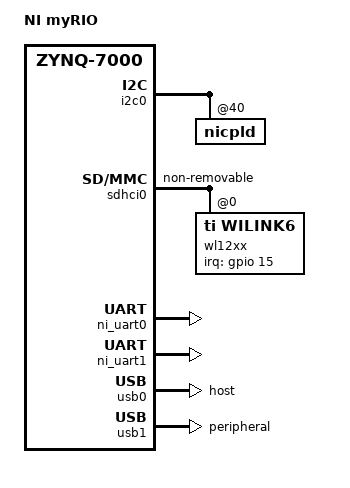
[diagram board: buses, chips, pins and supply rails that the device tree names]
/dts-v1/;
/include/ "ni-zynq.dtsi"

/* NIDEVCODE 762F */

/ {
	model = "NI myRIO";
	compatible = "ni,zynq", "xlnx,zynq-7000";

	amba {
		gpio: gpio@e000a000 {
			/* You can specify GPIO settings here:
			 *
			 *  gpioN-label      String label.
			 *  gpioN-direction  "input" or "output".
			 *  gpioN-settings   "output" - specifies the GPIO state as "high"
			 *                              or "low".
			 *                   "input"  - specifies GPIO interrupt settings as
			 *                              "none", "level-low", "level-high",
			 *                              "edge-falling", "edge-rising", or
			 *                              "edge-both".
			 */

			/* GPIO1 (MIO1) */
			gpio1-label     = "phy_interupt";
			gpio1-direction = "input";
			gpio1-settings  = "level-low";

			/* GPIO15 (MIO15) */
			gpio15-label     = "wake_interrupt";
			gpio15-direction = "input";
			gpio15-settings  = "level-low";

			/* GPIO24 (MIO24) */
			gpio24-label     = "wdt_interrupt";
			gpio24-direction = "input";
			gpio24-settings  = "edge-falling";

			/* GPIO25 (MIO25) */
			gpio25-label     = "wifi_btn_interrupt";
			gpio25-direction = "input";
			gpio25-settings  = "edge-falling";
		};

		i2c0: i2c@e0004000 {
			nicpld@40 {
				watchdogs {
					boot-watchdog {
						interrupt-parent = <&gpio>;
						interrupts = <24 0>;
					};
				};

				switches {
					wifi-switch {
						interrupt-parent = <&gpio>;
						interrupts = <25 0>;
					};
				};

				leds {
					status-1 {
						label = "nilrt:status:yellow";
						max-brightness = <0xFFFF>;
					};
					wifi-0 {
						label = "nilrt:wifi:primary";
					};
					wifi-1 {
						label = "nilrt:wifi:secondary";
					};
				};
			};
		};
	};
};

&sdhci0 {
	status = "okay";

	/* We must force the SDHCI into test mode, so that it
	 * always pretends to have a card present. This is to
	 * work-around a hardware bug where TiWi WiFi does not
	 * have its CD line connected correctly. */
	force-sd-cd-test-mode = <1>;

	non-removable = <1>;

	wl12xx: wl12xx@0 {
		compatible = "ti,wilink6";
		interrupt-parent = <&gpio>;
		interrupts = <15 0x4>;
		clocks = <&refclock>;
		clock-names = "refclock";

		refclock: refclock {
			compatible = "ti,wilink-clock";
			#clock-cells = <0>;
			clock-frequency = <38400000>;
		};
	};
};

&ni_uart0 {
	status = "okay";
	transceiver = "RS-232";
};

&ni_uart1 {
	status = "okay";
	transceiver = "RS-232";
};

&usb0 {
	status = "okay";
	dr_mode = "host";
};

&usb1 {
	status = "okay";
	dr_mode = "peripheral";
};

&clkc {
	/* Enable fclk1 for serial. */
	fclk-enable = <0x2>;
};
